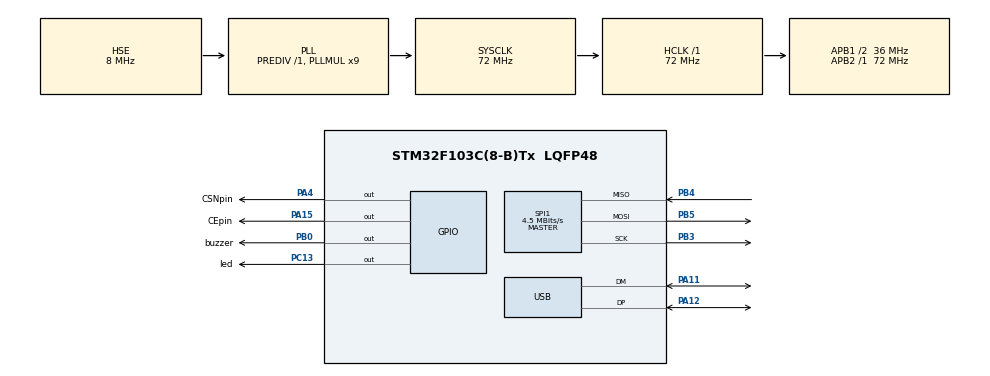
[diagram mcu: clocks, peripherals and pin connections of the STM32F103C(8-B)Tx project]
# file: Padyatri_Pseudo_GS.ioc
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Mcu.Family=STM32F1
RCC.PLLSourceVirtual=RCC_PLLSOURCE_HSE
USB_DEVICE.CLASS_NAME_FS=CDC
PD1-OSC_OUT.Mode=HSE-External-Oscillator
SPI1.VirtualType=VM_MASTER
USB_DEVICE.VirtualModeFS=Cdc_FS
PC13-TAMPER-RTC.Signal=GPIO_Output
RCC.USBPrescaler=RCC_USBCLKSOURCE_PLL_DIV1_5
PA11.Mode=Device
PB0.GPIO_Label=buzzer
PD0-OSC_IN.Signal=RCC_OSC_IN
RCC.APB1CLKDivider=RCC_HCLK_DIV2
RCC.SYSCLKSource=RCC_SYSCLKSOURCE_PLLCLK
ProjectManager.StackSize=0x400
PD1-OSC_OUT.Signal=RCC_OSC_OUT
PA13.Signal=SYS_JTMS-SWDIO
PA15.GPIO_Label=CEpin
PA12.Signal=USB_DP
ProjectManager.TargetToolchain=STM32CubeIDE
SPI1.Direction=SPI_DIRECTION_2LINES
RCC.HCLKFreq_Value=72000000
VP_USB_DEVICE_VS_USB_DEVICE_CDC_FS.Mode=CDC_FS
RCC.APB2TimFreq_Value=72000000
SPI1.CalculateBaudRate=4.5 MBits/s
RCC.USBFreq_Value=48000000
RCC.AHBFreq_Value=72000000
PD0-OSC_IN.Mode=HSE-External-Oscillator
PB3.Mode=Full_Duplex_Master
board=custom
PC13-TAMPER-RTC.GPIO_Label=led
RCC.PLLMUL=RCC_PLL_MUL9
RCC.APB2Freq_Value=72000000
PB4.Mode=Full_Duplex_Master
SPI1.Mode=SPI_MODE_MASTER
PA14.Mode=Serial_Wire
NVIC.USB_LP_CAN1_RX0_IRQn=true\:0\:0\:false\:false\:true\:false\:true
PB5.Mode=Full_Duplex_Master
PA13.Mode=Serial_Wire
Mcu.Name=STM32F103C(8-B)Tx
PB3.Signal=SPI1_SCK
PA4.Signal=GPIO_Output
RCC.SYSCLKFreq_VALUE=72000000
Mcu.Package=LQFP48
PB5.Signal=SPI1_MOSI
PA12.Mode=Device
PA11.Signal=USB_DM
PA14.Signal=SYS_JTCK-SWCLK
PA15.Signal=GPIO_Output
ProjectManager.HeapSize=0x200
NVIC.PriorityGroup=NVIC_PRIORITYGROUP_4
RCC.APB1TimFreq_Value=72000000
RCC.APB1Freq_Value=36000000
SPI1.BaudRatePrescaler=SPI_BAUDRATEPRESCALER_16
PB0.Signal=GPIO_Output
USB_DEVICE.VirtualMode=Cdc
PA4.GPIO_Label=CSNpin
PB4.Signal=SPI1_MISO

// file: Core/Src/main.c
/* USER CODE BEGIN Header */
/**
 ******************************************************************************
 * @file           : main.c
 * @brief          : Main program body
 ******************************************************************************
 * @attention
 *
 * <h2><center>&copy; Copyright (c) 2021 STMicroelectronics.
 * All rights reserved.</center></h2>
 *
 * This software component is licensed by ST under Ultimate Liberty license
 * SLA0044, the "License"; You may not use this file except in compliance with
 * the License. You may obtain a copy of the License at:
 *                             www.st.com/SLA0044
 *
 ******************************************************************************
 */
/* USER CODE END Header */
#include "main.h"
#include "usb_device.h"

/* USER CODE BEGIN Includes */
#include "NRF24L01.h"
#include "usbd_cdc_if.h"
/* USER CODE END Includes */

SPI_HandleTypeDef hspi1;

/* USER CODE BEGIN PV */
uint8_t usb_input[32];
uint8_t temp[100];

uint8_t TxAddress[5] = "psoCM";
uint8_t RxAddress[5] = "psoGS";
uint8_t RxData[32];
uint8_t Channel = 1;

/* USER CODE END PV */

void SystemClock_Config(void);
static void MX_GPIO_Init(void);
static void MX_SPI1_Init(void);

/* USER CODE BEGIN 0 */
int bufsize(char *buff) {
	int count = 0;
	while (*buff++ != '\0') {
		count++;
	}
	return count;
}
/* USER CODE END 0 */

int main(void) {

	/* MCU Configuration--------------------------------------------------------*/

	/* Reset of all peripherals, Initializes the Flash interface and the Systick. */
	HAL_Init();

	/* Configure the system clock */
	SystemClock_Config();

	/* Initialize all configured peripherals */
	MX_GPIO_Init();
	MX_USB_DEVICE_Init();
	MX_SPI1_Init();
	/* USER CODE BEGIN 2 */
	HAL_Delay(3000);
	NRF24_Init();
	NRF24_RxMode(RxAddress, Channel);
	/* USER CODE END 2 */

	/* Infinite loop */
	while (1) {

		/* USER CODE BEGIN 3 */
		if (usb_input[0] != '\0') {
			sprintf((char*) temp, "\nUser command Received: ");
			CDC_Transmit_FS(temp, bufsize((char*) temp));
			HAL_Delay(1);
			CDC_Transmit_FS(usb_input, bufsize((char*) usb_input));
			HAL_Delay(1);
			nrf24_reset(0);
			NRF24_TxMode(TxAddress, Channel);
			HAL_Delay(5);
			HAL_Delay(10);
			int tx_state = 0;
			tx_state = NRF24_Transmit(usb_input);
			if (tx_state == 1) {
				sprintf((char*) temp, "\nCommand transmission success\n");
				CDC_Transmit_FS(temp, bufsize((char*) temp));
				HAL_Delay(1);
				HAL_GPIO_TogglePin(led_GPIO_Port, led_Pin);
			} else {
				sprintf((char*) temp, "Transmission failed\n");
				CDC_Transmit_FS(temp, bufsize((char*) temp));
			}
			memset(usb_input, '\0', sizeof(usb_input));
			nrf24_reset(0);
			NRF24_RxMode(RxAddress, Channel);
			HAL_Delay(5);
		}

		if (isDataAvailable(1) == 1) {
			sprintf((char*) temp, "Data received from OBC:  ");
			CDC_Transmit_FS(temp, bufsize((char*) temp));
			HAL_Delay(5);
			memset(RxData, '\0', sizeof(RxData));
			NRF24_Receive(RxData);
			CDC_Transmit_FS(RxData, sizeof(RxData));
			memset(RxData, '\0', sizeof(RxData));
			HAL_GPIO_TogglePin(buzzer_GPIO_Port, buzzer_Pin);
		}

	}
	/* USER CODE END 3 */
}

void SystemClock_Config(void) {
	RCC_OscInitTypeDef RCC_OscInitStruct = { 0 };
	RCC_ClkInitTypeDef RCC_ClkInitStruct = { 0 };
	RCC_PeriphCLKInitTypeDef PeriphClkInit = { 0 };

	/** Initializes the RCC Oscillators according to the specified parameters
	 * in the RCC_OscInitTypeDef structure.
	 */
	RCC_OscInitStruct.OscillatorType = RCC_OSCILLATORTYPE_HSE;
	RCC_OscInitStruct.HSEState = RCC_HSE_ON;
	RCC_OscInitStruct.HSEPredivValue = RCC_HSE_PREDIV_DIV1;
	RCC_OscInitStruct.HSIState = RCC_HSI_ON;
	RCC_OscInitStruct.PLL.PLLState = RCC_PLL_ON;
	RCC_OscInitStruct.PLL.PLLSource = RCC_PLLSOURCE_HSE;
	RCC_OscInitStruct.PLL.PLLMUL = RCC_PLL_MUL9;
	if (HAL_RCC_OscConfig(&RCC_OscInitStruct) != HAL_OK) {
		Error_Handler();
	}
	/** Initializes the CPU, AHB and APB buses clocks
	 */
	RCC_ClkInitStruct.ClockType = RCC_CLOCKTYPE_HCLK | RCC_CLOCKTYPE_SYSCLK
			| RCC_CLOCKTYPE_PCLK1 | RCC_CLOCKTYPE_PCLK2;
	RCC_ClkInitStruct.SYSCLKSource = RCC_SYSCLKSOURCE_PLLCLK;
	RCC_ClkInitStruct.AHBCLKDivider = RCC_SYSCLK_DIV1;
	RCC_ClkInitStruct.APB1CLKDivider = RCC_HCLK_DIV2;
	RCC_ClkInitStruct.APB2CLKDivider = RCC_HCLK_DIV1;

	if (HAL_RCC_ClockConfig(&RCC_ClkInitStruct, FLASH_LATENCY_2) != HAL_OK) {
		Error_Handler();
	}
	PeriphClkInit.PeriphClockSelection = RCC_PERIPHCLK_USB;
	PeriphClkInit.UsbClockSelection = RCC_USBCLKSOURCE_PLL_DIV1_5;
	if (HAL_RCCEx_PeriphCLKConfig(&PeriphClkInit) != HAL_OK) {
		Error_Handler();
	}
}

static void MX_SPI1_Init(void) {

	/* SPI1 parameter configuration*/
	hspi1.Instance = SPI1;
	hspi1.Init.Mode = SPI_MODE_MASTER;
	hspi1.Init.Direction = SPI_DIRECTION_2LINES;
	hspi1.Init.DataSize = SPI_DATASIZE_8BIT;
	hspi1.Init.CLKPolarity = SPI_POLARITY_LOW;
	hspi1.Init.CLKPhase = SPI_PHASE_1EDGE;
	hspi1.Init.NSS = SPI_NSS_SOFT;
	hspi1.Init.BaudRatePrescaler = SPI_BAUDRATEPRESCALER_16;
	hspi1.Init.FirstBit = SPI_FIRSTBIT_MSB;
	hspi1.Init.TIMode = SPI_TIMODE_DISABLE;
	hspi1.Init.CRCCalculation = SPI_CRCCALCULATION_DISABLE;
	hspi1.Init.CRCPolynomial = 10;
	if (HAL_SPI_Init(&hspi1) != HAL_OK) {
		Error_Handler();
	}

}

static void MX_GPIO_Init(void) {
	GPIO_InitTypeDef GPIO_InitStruct = { 0 };

	/* GPIO Ports Clock Enable */
	__HAL_RCC_GPIOC_CLK_ENABLE();
	__HAL_RCC_GPIOD_CLK_ENABLE();
	__HAL_RCC_GPIOA_CLK_ENABLE();
	__HAL_RCC_GPIOB_CLK_ENABLE();

	/*Configure GPIO pin Output Level */
	HAL_GPIO_WritePin(led_GPIO_Port, led_Pin, GPIO_PIN_RESET);

	/*Configure GPIO pin Output Level */
	HAL_GPIO_WritePin(GPIOA, CSNpin_Pin | CEpin_Pin, GPIO_PIN_RESET);

	/*Configure GPIO pin Output Level */
	HAL_GPIO_WritePin(buzzer_GPIO_Port, buzzer_Pin, GPIO_PIN_RESET);

	/*Configure GPIO pin : led_Pin */
	GPIO_InitStruct.Pin = led_Pin;
	GPIO_InitStruct.Mode = GPIO_MODE_OUTPUT_PP;
	GPIO_InitStruct.Pull = GPIO_NOPULL;
	GPIO_InitStruct.Speed = GPIO_SPEED_FREQ_LOW;
	HAL_GPIO_Init(led_GPIO_Port, &GPIO_InitStruct);

	/*Configure GPIO pins : CSNpin_Pin CEpin_Pin */
	GPIO_InitStruct.Pin = CSNpin_Pin | CEpin_Pin;
	GPIO_InitStruct.Mode = GPIO_MODE_OUTPUT_PP;
	GPIO_InitStruct.Pull = GPIO_NOPULL;
	GPIO_InitStruct.Speed = GPIO_SPEED_FREQ_LOW;
	HAL_GPIO_Init(GPIOA, &GPIO_InitStruct);

	/*Configure GPIO pin : buzzer_Pin */
	GPIO_InitStruct.Pin = buzzer_Pin;
	GPIO_InitStruct.Mode = GPIO_MODE_OUTPUT_PP;
	GPIO_InitStruct.Pull = GPIO_NOPULL;
	GPIO_InitStruct.Speed = GPIO_SPEED_FREQ_LOW;
	HAL_GPIO_Init(buzzer_GPIO_Port, &GPIO_InitStruct);

}

void Error_Handler(void) {
	__disable_irq();
	while (1) {
	}
}

/************************ (C) COPYRIGHT STMicroelectronics *****END OF FILE****/
